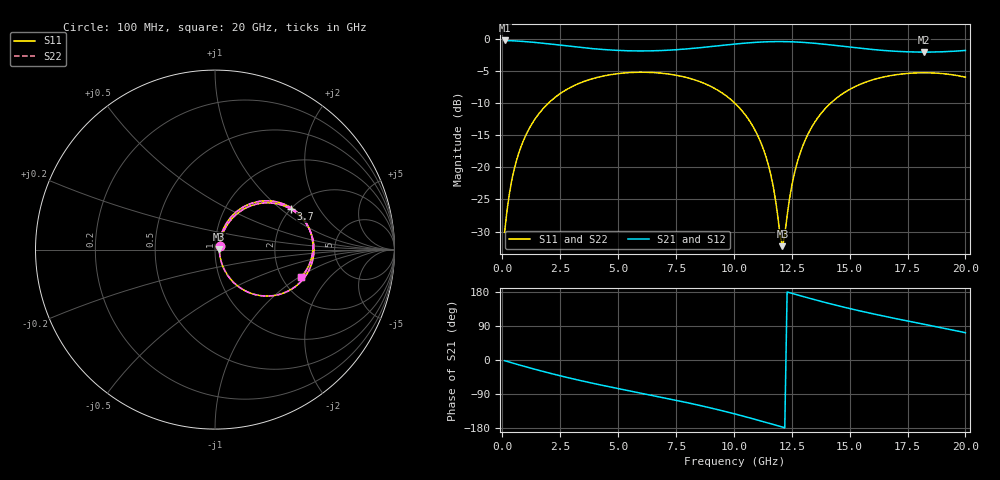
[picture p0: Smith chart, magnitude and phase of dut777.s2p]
! Touchstone file exported from HFSS 2026.1.0
!  File:  C:/ffzhzh/LocalFiles/Ansys_Project_Files/temp_train_TSV_RDL_777_1783210036_43440.aedt
!  Generated:  08:20:32 AM Jul  5, 2026
!  Design:  TSV_RDL
!  Project:  temp_train_TSV_RDL_777_1783210036_43440
! Variables:
!  h_bsmrdl = 5.38um
!  h_ox = 20um
!  h_rdl = 5um
!  h_sub = 83.89um
!  h_tmrdl = 2.14um
!  h_tsv = 83.89um
!  h_via = 3um
!  l_bsmrdl = 667.56um
!  l_sub = 4893.95um
!  l_tmrdl = 591.25um
!  m_sub = 200um
!  pitch = 52.62um
!  r_tsv = 10.09um
!  s_tmrdl = 10um
!  w_bsmrdl = 18.76um
!  w_sub = 500um
!  w_tmrdl = 23.33um
!  x_tsv_center1 = 602.915um
!  x_tsv_center2 = 1289.235um
!  x_tsv_center3 = 1903.815um
!  x_tsv_center4 = 2590.135um
!  x_tsv_center5 = 3204.715um
!  x_tsv_center6 = 3891.035um
# GHz S MA R 50.000000
! Terminal data exported
! Port[1] = TM_RDL1_1_T1
! Port[2] = TM_RDL5_1_T1
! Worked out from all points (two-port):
!   200 points, 100 MHz to 20 GHz, reference 50 ohm
!   highest |S21| = -0.22 dB at 100 MHz (marker M1); lowest = -2.0 dB at 18.2 GHz (marker M2)
!   |S21| within 3 dB of the highest: start of sweep to end of sweep
!   lowest |S11| = -32.3 dB at 12.1 GHz (marker M3), VSWR 1.05, Z = 52.5 + j0.0987 ohm
!   |S11| at or under -10 dB: start of sweep to 1.989 GHz; 10.04 GHz to 14.18 GHz (4.133 GHz wide, 34.1 % of centre)
!   |S22| runs from -32.4 to -5.2 dB; largest |S21 - S12| = 1.6e-14
!   S11 on the Smith chart (normalised r, x): 100 MHz: 1.05, +0.04; 3.7 GHz: 2.00, +1.17; 20 GHz: 2.55, -1.04
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0.1  0.03118 35.6  0.9751 -1.9  0.9751 -1.9  0.03118 35.6
! Gamma 0 0 0 0
! Port Impedance 50 0 50 0
0.3  0.06142 59.1  0.9721 -5.5  0.9721 -5.5  0.06142 59.1
0.5  0.09448 63.9  0.9682 -9.0  0.9682 -9.0  0.09448 63.9
1.1  0.191 61.6  0.9519 -19.3  0.9519 -19.3  0.191 61.6
2.1  0.33 49.1  0.9134 -35.6  0.9134 -35.6  0.3301 49.1
3.5  0.4652 30.6  0.8558 -56.0  0.8558 -56.0  0.4652 30.6
3.7  0.4789 28.1  0.8487 -58.7  0.8487 -58.7  0.4789 28.1
5.3  0.5447 8.8  0.8115 -79.1  0.8115 -79.1  0.5447 8.7
6.8  0.5436 -8.8  0.8128 -97.4  0.8128 -97.4  0.5437 -8.8
8.6  0.4605 -30.9  0.8584 -120.9  0.8584 -120.9  0.4606 -31.0
10.1  0.3094 -51.1  0.9161 -143.2  0.9161 -143.2  0.3094 -51.2
10.9  0.1972 -61.3  0.9417 -156.3  0.9417 -156.3  0.1973 -61.5
11.4  0.119 -65.0  0.9519 -164.9  0.9519 -164.9  0.119 -65.2
11.7  0.0712 -61.9  0.9551 -170.1  0.9551 -170.1  0.07113 -62.2
12.1  0.02433 2.2  0.9557 -177.1  0.9557 -177.1  0.0239 2.0
12.6  0.08746 66.7  0.9505 174.2  0.9505 174.2  0.08726 66.9
12.9  0.135 67.5  0.9443 169.1  0.9443 169.1  0.1348 67.6
13.4  0.2113 63.1  0.9299 160.7  0.9299 160.7  0.2112 63.1
14.7  0.3754 46.1  0.8785 140.2  0.8785 140.2  0.3753 46.1
16.7  0.5165 20.8  0.8093 112.9  0.8093 112.9  0.5165 20.8
18.2  0.5461 3.4  0.7913 94.4  0.7913 94.4  0.5461 3.3
20  0.5046 -17.5  0.8149 72.0  0.8149 72.0  0.5045 -17.6
